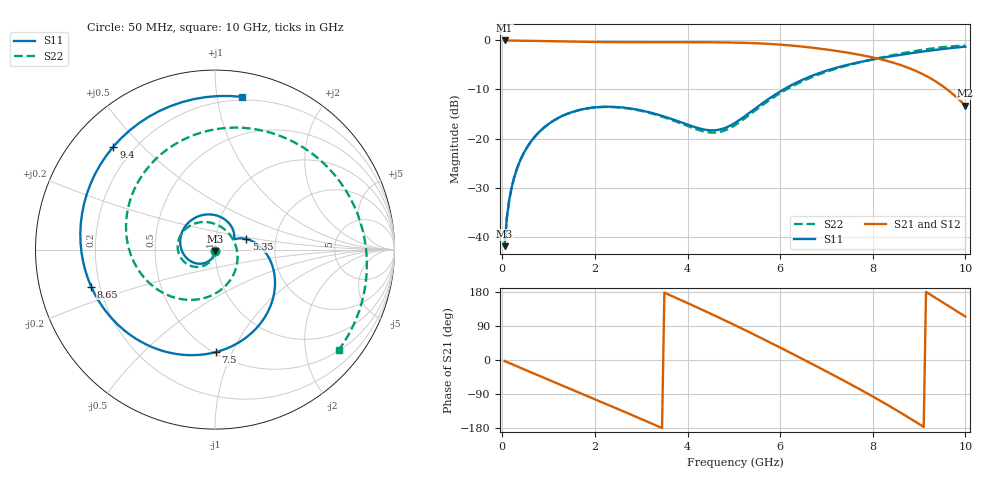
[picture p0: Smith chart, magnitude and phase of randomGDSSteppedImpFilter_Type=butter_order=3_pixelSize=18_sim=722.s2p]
! freq	dB(S11)	phase(S11)	dB(S12)	phase(S12)
!  dB(S21)	phase(S21)	dB(S22)	phase(S22)
!S-par simulation data
#  GHz  S  DB  R 50
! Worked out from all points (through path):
!   200 points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, 50 MHz to 10 GHz, reference 50 ohm
!   highest |S21| = 0.00 dB at 50 MHz (marker M1); lowest = -13.3 dB at 10 GHz (marker M2)
!   group delay of S21, straight-line fit = 166 ps
!   lowest |S11| = -41.9 dB at 50 MHz (marker M3), VSWR 1.02, Z = 50 - j0.799 ohm
!   |S11| at or under -10 dB: start of sweep to 6.074 GHz
!   |S22| runs from -41.9 to -1.0 dB; largest |S21 - S12| = 0
!   S11 on the Smith chart (normalised r, x): 50 MHz: 1.00, -0.02; 5.35 GHz: 1.41, +0.17; 7.5 GHz: 0.51, -0.87; 8.65 GHz: 0.17, -0.14; 9.4 GHz: 0.13, +0.41; 10 GHz: 0.18, +1.18
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0.05  -41.94 -92.2  -0.00 -2.7  -0.00 -2.7  -41.93 -91.6
0.1  -35.98 -95.4  -0.01 -5.3  -0.01 -5.3  -35.97 -94.1
0.2  -30.05 -101.7  -0.02 -10.6  -0.02 -10.6  -30.04 -99.2
0.5  -22.35 -119.9  -0.06 -26.3  -0.06 -26.3  -22.34 -113.6
1.15  -16.11 -158.2  -0.18 -60.0  -0.18 -60.0  -16.11 -143.3
1.75  -14.00 166.4  -0.28 -90.8  -0.28 -90.8  -14.01 -169.8
2.5  -13.60 121.6  -0.35 -129.5  -0.35 -129.5  -13.64 157.7
3.4  -15.23 68.5  -0.35 -177.0  -0.35 -177.0  -15.37 116.1
4.15  -17.64 35.2  -0.36 141.9  -0.36 141.9  -17.97 67.7
4.6  -18.30 28.2  -0.38 116.5  -0.38 116.5  -18.77 23.4
5.05  -16.66 25.1  -0.45 90.3  -0.45 90.3  -17.13 -26.4
5.35  -14.67 18.6  -0.53 72.5  -0.53 72.5  -15.08 -55.5
6.05  -10.13 -10.6  -0.89 29.7  -0.89 29.7  -10.46 -111.5
6.7  -7.16 -44.8  -1.49 -11.1  -1.49 -11.1  -7.42 -158.7
7.5  -4.87 -89.4  -2.56 -62.7  -2.56 -62.7  -4.99 142.3
7.9  -4.07 -113.1  -3.27 -89.5  -3.27 -89.5  -4.07 111.9
8.35  -3.31 -142.0  -4.29 -120.9  -4.29 -120.9  -3.15 77.3
8.65  -2.85 -163.3  -5.17 -142.6  -5.17 -142.6  -2.60 54.5
9.05  -2.30 165.1  -6.74 -172.7  -6.74 -172.7  -1.95 24.8
9.4  -1.87 134.6  -8.61 160.3  -8.61 160.3  -1.50 0.0
9.7  -1.55 107.3  -10.69 137.3  -10.69 137.3  -1.21 -20.0
10  -1.27 80.0  -13.31 114.9  -13.31 114.9  -1.04 -39.0
